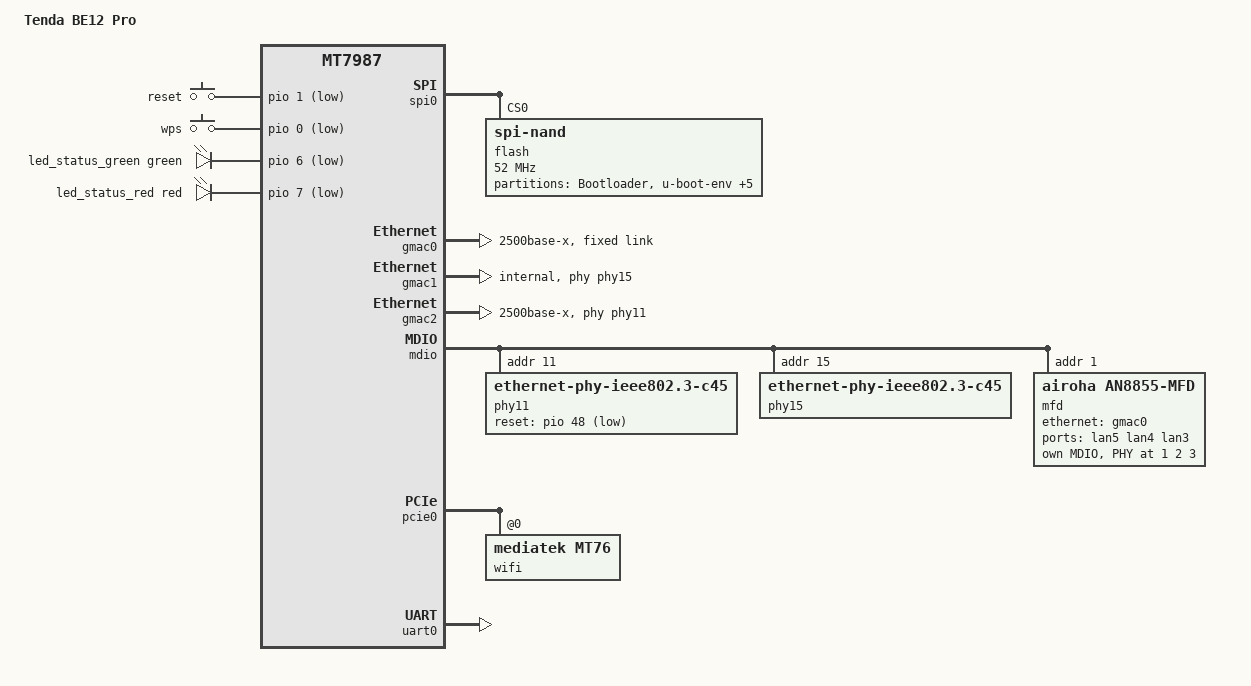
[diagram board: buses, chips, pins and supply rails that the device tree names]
// SPDX-License-Identifier: (GPL-2.0 OR MIT)
// Author: Developer X <dev@x-wrt.com>

/dts-v1/;
#include "mt7987a.dtsi"
#include <dt-bindings/input/input.h>

/ {
	model = "Tenda BE12 Pro";
	compatible = "tenda,be12-pro", "mediatek,mt7987a", "mediatek,mt7987";

	aliases {
		label-mac-device = &gmac0;
		led-boot = &led_status_green;
		led-failsafe = &led_status_red;
		led-running = &led_status_green;
		led-upgrade = &led_status_red;
	};

	chosen {
		bootargs-override = "console=ttyS0,115200n1 earlycon=uart8250,mmio32,0x11000000 pci=pcie_bus_perf";
	};

	gpio-keys {
		compatible = "gpio-keys";

		reset {
			label = "reset";
			linux,code = <KEY_RESTART>;
			gpios = <&pio 1 GPIO_ACTIVE_LOW>;
			debounce-interval = <10>;
		};

		wps {
			label = "wps";
			linux,code = <KEY_WPS_BUTTON>;
			gpios = <&pio 0 GPIO_ACTIVE_LOW>;
			debounce-interval = <10>;
		};
	};

	gpio-leds {
		compatible = "gpio-leds";

		led_status_green: status_green {
			function = LED_FUNCTION_STATUS;
			color = <LED_COLOR_ID_GREEN>;
			gpios = <&pio 6 GPIO_ACTIVE_LOW>;
		};

		led_status_red: status_red {
			function = LED_FUNCTION_STATUS;
			color = <LED_COLOR_ID_RED>;
			gpios = <&pio 7 GPIO_ACTIVE_LOW>;
		};
	};
};

&spi0 {
	pinctrl-names = "default";
	pinctrl-0 = <&spi0_flash_pins>;
	status = "okay";

	flash@0 {
		compatible = "spi-nand";
		reg = <0>;
		spi-max-frequency = <52000000>;
		spi-tx-bus-width = <4>;
		spi-rx-bus-width = <4>;
		mediatek,nmbm;
		mediatek,bmt-max-ratio = <1>;
		mediatek,bmt-max-reserved-blocks = <64>;

		partitions {
			compatible = "fixed-partitions";
			#address-cells = <1>;
			#size-cells = <1>;

			partition@0 {
				label = "Bootloader";
				reg = <0x000000 0x0300000>;
				read-only;
			};

			partition@300000 {
				label = "u-boot-env";
				reg = <0x300000 0x0080000>;
			};

			partition@380000 {
				label = "Factory";
				reg = <0x380000 0x0400000>;
				read-only;

				nvmem-layout {
					compatible = "fixed-layout";
					#address-cells = <1>;
					#size-cells = <1>;

					eeprom_factory_0: eeprom@0 {
						reg = <0x0 0x1e00>;
					};

					macaddr_factory_4: macaddr@4 {
						compatible = "mac-base";
						reg = <0x4 0x6>;
						#nvmem-cell-cells = <1>;
					};
				};
			};

			partition@780000 {
				label = "kernel";
				reg = <0x780000 0x0600000>;
			};

			partition@d80000 {
				label = "ubi";
				reg = <0xd80000 0x5a00000>;
			};

			partition@6780000 {
				label = "CFG";
				reg = <0x6780000 0x400000>;
				read-only;
			};

			partition@6b80000 {
				label = "MISC2";
				reg = <0x6b80000 0x400000>;
				read-only;
			};
		};
	};
};

&gmac0 {
	phy-mode = "2500base-x";
	status = "okay";

	nvmem-cells = <&macaddr_factory_4 (-2)>;
	nvmem-cell-names = "mac-address";

	fixed-link {
		speed = <2500>;
		full-duplex;
		pause;
	};
};

&gmac1 {
	phy-mode = "internal";
	phy-handle = <&phy15>;
	status = "okay";

	nvmem-cells = <&macaddr_factory_4 (-2)>;
	nvmem-cell-names = "mac-address";
};

&gmac2 {
	phy-mode = "2500base-x";
	phy-handle = <&phy11>;
	status = "okay";

	nvmem-cells = <&macaddr_factory_4 (-1)>;
	nvmem-cell-names = "mac-address";
};

&mdio {
	phy11: phy@11 {
		compatible = "ethernet-phy-ieee802.3-c45";
		reg = <11>;

		reset-assert-us = <10000>;
		reset-deassert-us = <20000>;
		reset-gpios = <&pio 48 GPIO_ACTIVE_LOW>;
	};

	phy15: phy@15 {
		compatible = "ethernet-phy-ieee802.3-c45";
		reg = <15>;
	};

	mfd@1 {
		compatible = "airoha,an8855-mfd";
		reg = <1>;

		efuse {
			compatible = "airoha,an8855-efuse";
			#nvmem-cell-cells = <0>;

			nvmem-layout {
				compatible = "fixed-layout";
				#address-cells = <1>;
				#size-cells = <1>;

				shift_sel_port0_tx_a: shift-sel-port0-tx-a@c {
					reg = <0xc 0x4>;
				};

				shift_sel_port0_tx_b: shift-sel-port0-tx-b@10 {
					reg = <0x10 0x4>;
				};

				shift_sel_port0_tx_c: shift-sel-port0-tx-c@14 {
					reg = <0x14 0x4>;
				};

				shift_sel_port0_tx_d: shift-sel-port0-tx-d@18 {
					reg = <0x18 0x4>;
				};

				shift_sel_port1_tx_a: shift-sel-port1-tx-a@1c {
					reg = <0x1c 0x4>;
				};

				shift_sel_port1_tx_b: shift-sel-port1-tx-b@20 {
					reg = <0x20 0x4>;
				};

				shift_sel_port1_tx_c: shift-sel-port1-tx-c@24 {
					reg = <0x24 0x4>;
				};

				shift_sel_port1_tx_d: shift-sel-port1-tx-d@28 {
					reg = <0x28 0x4>;
				};

				shift_sel_port2_tx_a: shift-sel-port2-tx-a@2c {
					reg = <0x2c 0x4>;
				};

				shift_sel_port2_tx_b: shift-sel-port2-tx-b@30 {
					reg = <0x30 0x4>;
				};

				shift_sel_port2_tx_c: shift-sel-port2-tx-c@34 {
					reg = <0x34 0x4>;
				};

				shift_sel_port2_tx_d: shift-sel-port2-tx-d@38 {
					reg = <0x38 0x4>;
				};

				shift_sel_port3_tx_a: shift-sel-port3-tx-a@4c {
					reg = <0x4c 0x4>;
				};

				shift_sel_port3_tx_b: shift-sel-port3-tx-b@50 {
					reg = <0x50 0x4>;
				};

				shift_sel_port3_tx_c: shift-sel-port3-tx-c@54 {
					reg = <0x54 0x4>;
				};

				shift_sel_port3_tx_d: shift-sel-port3-tx-d@58 {
					reg = <0x58 0x4>;
				};
			};
		};

		ethernet-switch {
			compatible = "airoha,an8855-switch";
			reset-gpios = <&pio 42 GPIO_ACTIVE_HIGH>;
			airoha,ext-surge;

			ports {
				#address-cells = <1>;
				#size-cells = <0>;

				port@0 {
					reg = <0>;
					label = "lan5";
					phy-mode = "internal";
					phy-handle = <&internal_phy1>;
				};

				port@1 {
					reg = <1>;
					label = "lan4";
					phy-mode = "internal";
					phy-handle = <&internal_phy2>;
				};

				port@2 {
					reg = <2>;
					label = "lan3";
					phy-mode = "internal";
					phy-handle = <&internal_phy3>;
				};

				port@5 {
					reg = <5>;
					ethernet = <&gmac0>;
					phy-mode = "2500base-x";

					fixed-link {
						speed = <2500>;
						full-duplex;
						pause;
					};
				};
			};
		};

		mdio {
			compatible = "airoha,an8855-mdio";
			#address-cells = <1>;
			#size-cells = <0>;

			internal_phy1: phy@1 {
				reg = <1>;

				nvmem-cells = <&shift_sel_port0_tx_a>,
						<&shift_sel_port0_tx_b>,
						<&shift_sel_port0_tx_c>,
						<&shift_sel_port0_tx_d>;
				nvmem-cell-names = "tx_a", "tx_b", "tx_c", "tx_d";
			};

			internal_phy2: phy@2 {
				reg = <2>;

				nvmem-cells = <&shift_sel_port1_tx_a>,
						<&shift_sel_port1_tx_b>,
						<&shift_sel_port1_tx_c>,
						<&shift_sel_port1_tx_d>;
				nvmem-cell-names = "tx_a", "tx_b", "tx_c", "tx_d";
			};

			internal_phy3: phy@3 {
				reg = <3>;

				nvmem-cells = <&shift_sel_port2_tx_a>,
						<&shift_sel_port2_tx_b>,
						<&shift_sel_port2_tx_c>,
						<&shift_sel_port2_tx_d>;
				nvmem-cell-names = "tx_a", "tx_b", "tx_c", "tx_d";
			};
		};
	};
};

&pcie0 {
	pinctrl-names = "default";
	pinctrl-0 = <&pcie0_pins>;
	status = "okay";

	pcie@0,0 {
		reg = <0x0000 0 0 0 0>;
		device_type = "pci";
		#address-cells = <3>;
		#size-cells = <2>;

		wifi@0,0 {
			compatible = "mediatek,mt76";
			reg = <0x0000 0 0 0 0>;

			nvmem-cells = <&eeprom_factory_0>;
			nvmem-cell-names = "eeprom";

			#address-cells = <1>;
			#size-cells = <0>;

			band@0 {
				reg = <0>;
				nvmem-cells = <&macaddr_factory_4 1>;
				nvmem-cell-names = "mac-address";
			};

			band@1 {
				reg = <1>;
				nvmem-cells = <&macaddr_factory_4 3>;
				nvmem-cell-names = "mac-address";
			};
		};
	};
};

&uart0 {
	pinctrl-names = "default";
	pinctrl-0 = <&uart0_pins>;
	status = "okay";
};
